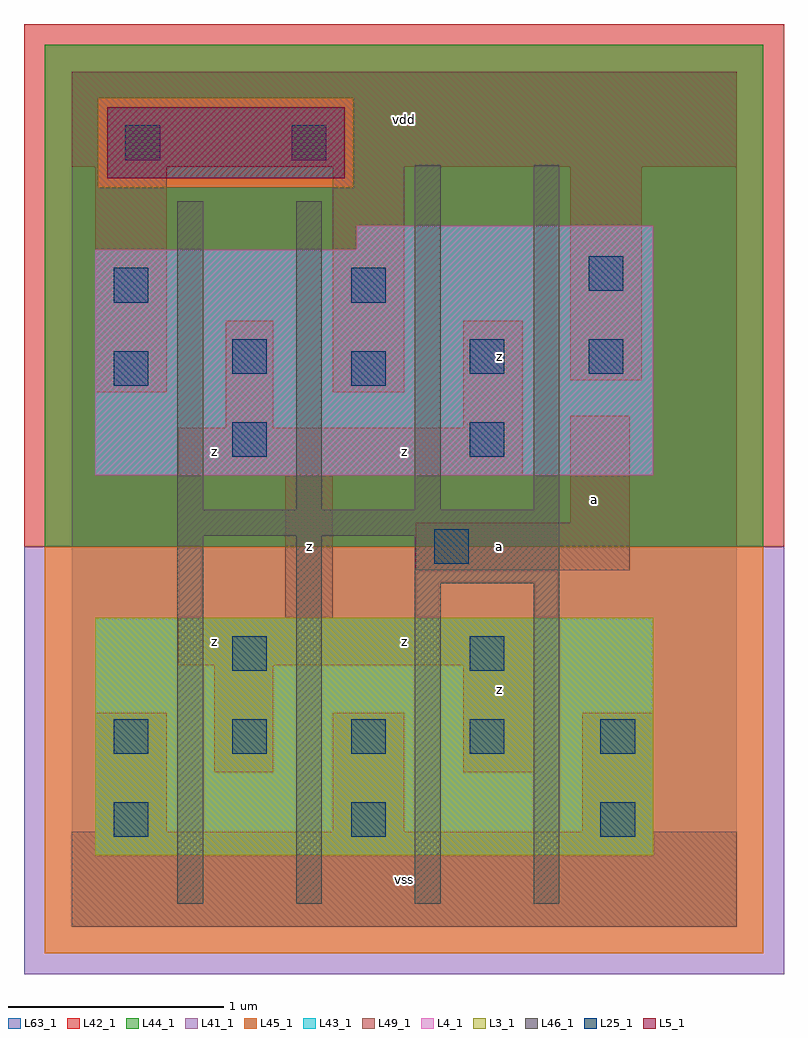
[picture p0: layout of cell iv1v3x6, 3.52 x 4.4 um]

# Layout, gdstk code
import gdstk
lib = gdstk.Library(unit=1e-6, precision=1e-09)
def R(c, l, rs):  # rectangles x0, y0, x1, y1
    for r in rs: c.add(gdstk.rectangle(r[:2], r[2:], *l))
def A(c, l, x, y, w, h, nx, ny, dx, dy):  # array of equal rectangles
    R(c, l, [(x+i*dx, y+j*dy, x+i*dx+w, y+j*dy+h) for i in range(nx) for j in range(ny)])
L3_1 = (3, 1)
L4_1 = (4, 1)
L5_1 = (5, 1)
L25_1 = (25, 1)
L41_1 = (41, 1)
L42_1 = (42, 1)
L43_1 = (43, 1)
L44_1 = (44, 1)
L45_1 = (45, 1)
L46_1 = (46, 1)
L49_1 = (49, 1)
L63_1 = (63, 1)

iv1v3x6 = lib.new_cell('iv1v3x6')
R(iv1v3x6, L3_1, [(0.11,0.33,2.695,1.43)])
R(iv1v3x6, L4_1, [(0.11,2.09,2.695,3.135), (1.32,3.135,2.695,3.245)])
R(iv1v3x6, L5_1, [(0.165,3.465,1.265,3.795)])
A(iv1v3x6, L25_1, 0.195, 0.8, 0.16, 0.16, 4, 1, 0.55, 0)
R(iv1v3x6, L25_1, [(0.195,0.415,0.355,0.575), (1.295,0.415,1.455,0.575), (2.45,0.415,2.61,0.575), (2.45,0.8,2.61,0.96), (0.745,1.185,0.905,1.345), (1.845,1.185,2.005,1.345), (1.68,1.68,1.84,1.84), (0.745,2.175,0.905,2.335), (1.845,2.175,2.005,2.335), (0.195,2.505,0.355,2.665), (1.295,2.505,1.455,2.665), (0.745,2.56,0.905,2.72), (1.845,2.56,2.005,2.72), (2.395,2.56,2.555,2.72), (0.195,2.89,0.355,3.05), (1.295,2.89,1.455,3.05), (2.395,2.945,2.555,3.105), (0.25,3.55,0.41,3.71), (1.02,3.55,1.18,3.71)])
R(iv1v3x6, L41_1, [(-0.22,-0.22,3.3,1.76)])
R(iv1v3x6, L42_1, [(-0.22,1.76,3.3,4.18)])
R(iv1v3x6, L43_1, [(0.11,0.33,2.695,1.43), (0.11,2.09,2.695,3.135), (1.32,3.135,2.695,3.245), (0.165,3.465,1.265,3.795)])
R(iv1v3x6, L44_1, [(-0.125,1.76,3.205,3.425), (-0.125,3.425,0.125,3.835), (1.305,3.425,3.205,3.835), (-0.125,3.835,3.205,4.085)])
R(iv1v3x6, L45_1, [(-0.125,-0.125,3.205,1.76), (0.125,3.425,1.305,3.835)])
R(iv1v3x6, L46_1, [(0.49,0.105,0.61,1.81), (1.04,0.105,1.16,1.81), (1.59,0.105,1.71,1.59), (2.14,0.105,2.26,1.59), (1.59,1.59,2.26,1.81), (0.49,1.81,2.26,1.93), (0.49,1.93,0.61,3.36), (1.04,1.93,1.16,3.36), (1.59,1.93,1.71,3.525), (2.14,1.93,2.26,3.525)])
R(iv1v3x6, L49_1, [(0,0,3.08,0.44), (0.11,0.44,0.44,0.99), (1.21,0.44,1.54,0.99), (2.365,0.44,2.695,0.99), (0.66,0.715,0.935,1.21), (1.815,0.715,2.145,1.21), (0.495,1.21,2.145,1.43), (0.99,1.43,1.21,2.09), (1.595,1.65,2.585,1.87), (2.31,1.87,2.585,2.365), (0.495,2.09,2.09,2.31), (0.715,2.31,0.935,2.805), (1.815,2.31,2.09,2.805), (0.11,2.475,0.44,3.52), (1.21,2.475,1.54,3.52), (2.31,2.53,2.64,3.52), (0,3.52,3.08,3.96)])
R(iv1v3x6, L63_1, [(0,0,3.08,3.96)])
iv1v3x6.add(gdstk.Label('z', (0.66,1.32), layer=49, texttype=1))
iv1v3x6.add(gdstk.Label('z', (1.1,1.76), layer=49, texttype=1))
iv1v3x6.add(gdstk.Label('z', (0.66,2.2), layer=49, texttype=1))
iv1v3x6.add(gdstk.Label('vss', (1.54,0.22), layer=49, texttype=1))
iv1v3x6.add(gdstk.Label('z', (1.98,1.1), layer=49, texttype=1))
iv1v3x6.add(gdstk.Label('z', (1.54,1.32), layer=49, texttype=1))
iv1v3x6.add(gdstk.Label('a', (1.98,1.76), layer=49, texttype=1))
iv1v3x6.add(gdstk.Label('z', (1.54,2.2), layer=49, texttype=1))
iv1v3x6.add(gdstk.Label('z', (1.98,2.64), layer=49, texttype=1))
iv1v3x6.add(gdstk.Label('vdd', (1.54,3.74), layer=49, texttype=1))
iv1v3x6.add(gdstk.Label('a', (2.42,1.98), layer=49, texttype=1))

lib.write_gds('iv1v3x6.gds')
